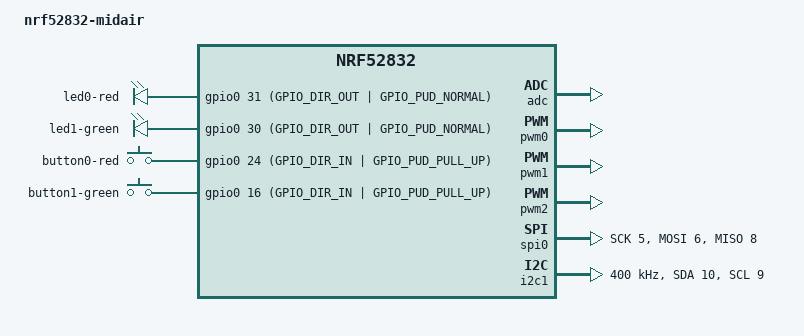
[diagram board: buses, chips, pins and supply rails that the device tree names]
//
// Copyright (c) 2019 Andrew Fernandes <andrew@fernandes.org>
//
// SPDX-License-Identifier: Apache-2.0
//

/dts-v1/;
#include <nordic/nrf52832_ciaa.dtsi>

/ {
    model = "nrf52832-midair";
    compatible = "fernandes,nrf52832-midair", "nordic,nrf52832-ciaa", "nordic,nrf52832", "nordic,nrf52";

    chosen {
        zephyr,sram = &sram0;
        zephyr,flash = &flash0;
        zephyr,code-partition = &slot0_partition;
    };

    leds {

        compatible = "gpio-leds";

        led0_red: led_0 {
            gpios = <&gpio0 31 (GPIO_DIR_OUT | GPIO_PUD_NORMAL)>;
            label = "led0-red";
        };

        led1_green: led_1 {
            gpios = <&gpio0 30 (GPIO_DIR_OUT | GPIO_PUD_NORMAL)>;
            label = "led1-green";
        };

    };

    buttons {

        compatible = "gpio-keys";

        button0_red: button_0 {
            gpios = <&gpio0 24 (GPIO_DIR_IN | GPIO_PUD_PULL_UP)>;
            label = "button0-red";
        };

        button1_green: button_1 {
            gpios = <&gpio0 16 (GPIO_DIR_IN | GPIO_PUD_PULL_UP)>;
            label = "button1-green";
        };

    };

    aliases {

        led0 = &led0_red;
        led1 = &led1_green;

        led0-red   = &led0_red;
        led1-green = &led1_green;

        button0 = &button0_red;
        button1 = &button1_green;

        button0-red   = &button0_red;
        button1-green = &button1_green;

    };

};

&gpio0 {
    status = "okay";
};

&gpiote {
    status = "okay";
};

&adc {
    status = "okay";
    label = "saadc-battery";
 // enable-gpios = <&gpio0 4 (GPIO_DIR_IN | GPIO_PUD_NORMAL)>; // AIN2
};

&pwm0 {
    status = "okay";
    label = "pwm0-red";
    ch0-pin = <31>;
};

&pwm1 {
    status = "okay";
    label = "pwm1-green";
    ch0-pin = <30>;
};

&pwm2 {
    status = "okay";
};

&spi0 {
    status = "okay";
    label = "accelerometer";
    compatible = "nordic,nrf-spim";
    sck-pin  = <5>;
    mosi-pin = <6>;
    miso-pin = <8>;
    cs-gpios = <&gpio0 3 (GPIO_DIR_OUT | GPIO_PUD_NORMAL)>;
 // enable-gpios = <&gpio0 22 (GPIO_DIR_IN | GPIO_PUD_NORMAL)>, // INT1
 //                <&gpio0  2 (GPIO_DIR_IN | GPIO_PUD_NORMAL)>; // INT2
};

&i2c1 {
    status = "okay";
    label = "magnetometer";
    compatible = "nordic,nrf-twim";
    clock-frequency = <I2C_BITRATE_FAST>;
    scl-pin =  <9>; // P0.12 and P0.19 should be set as inputs with pull-up
    sda-pin = <10>; // P0.11 and P0.14 should be set as inputs with pull-up
 // enable-gpios = <&gpio0 12 (GPIO_DIR_IN | GPIO_PUD_PULL_UP)>, <&gpio0 19 (GPIO_DIR_IN | GPIO_PUD_PULL_UP)>, // SCL
 //                <&gpio0 11 (GPIO_DIR_IN | GPIO_PUD_PULL_UP)>, <&gpio0 14 (GPIO_DIR_IN | GPIO_PUD_PULL_UP)>, // SDA
 //                <&gpio0 26 (GPIO_DIR_IN | GPIO_PUD_NORMAL)>; // INT
};

&timer1 {
	prescaler = <4>; // 0 -> 16 MHz, 4 -> 1 MHz
};

&timer2 {
	prescaler = <4>; // 0 -> 16 MHz, 4 -> 1 MHz
};

&timer3 {
	prescaler = <4>; // 0 -> 16 MHz, 4 -> 1 MHz
};

&timer4 {
	prescaler = <4>; // 0 -> 16 MHz, 4 -> 1 MHz
};

&flash0 {

    // https://docs.zephyrproject.org/latest/guides/dts/index.html#flash-partitions

    partitions {

        compatible = "fixed-partitions";
        #address-cells = <1>;
        #size-cells = <1>;

        boot_partition: partition@0 {
            label = "mcuboot";
            reg = <0x00000000 0xC000>;
        };

        slot0_partition: partition@c000 {
            label = "image-0";
            reg = <0x0000C000 0x32000>;
        };

        slot1_partition: partition@3e000 {
            label = "image-1";
            reg = <0x0003E000 0x32000>;
        };

        scratch_partition: partition@70000 {
            label = "image-scratch";
            reg = <0x00070000 0xA000>;
        };

        storage_partition: partition@7a000 {
            label = "storage";
            reg = <0x0007A000 0x00006000>;
        };

    };

};
